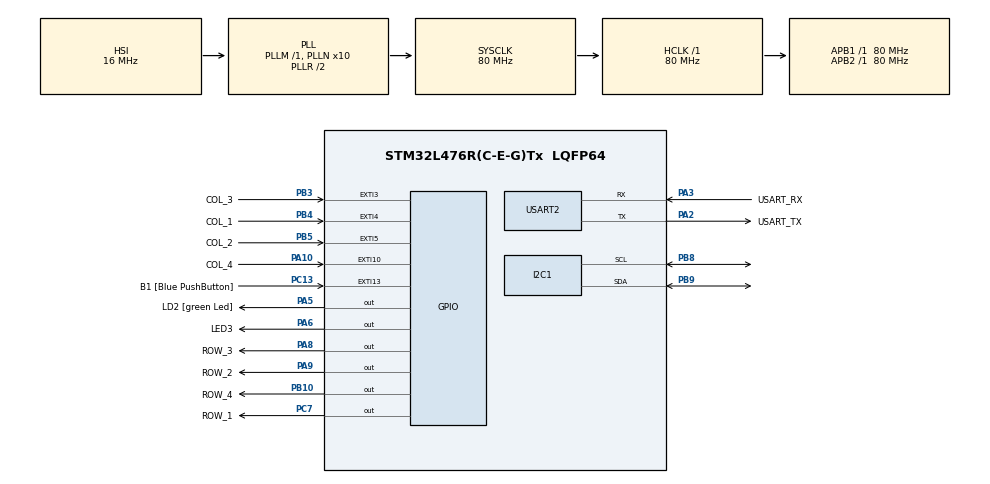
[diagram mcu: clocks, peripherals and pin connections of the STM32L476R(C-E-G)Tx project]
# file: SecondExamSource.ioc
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I2C1.Timing=0x10D19CE4
Mcu.Family=STM32L4
Mcu.Name=STM32L476R(C-E-G)Tx
Mcu.Package=LQFP64
NVIC.EXTI15_10_IRQn=true\:0\:0\:false\:false\:true\:true\:true\:true
NVIC.EXTI3_IRQn=true\:0\:0\:false\:false\:true\:true\:true\:true
NVIC.EXTI4_IRQn=true\:0\:0\:false\:false\:true\:true\:true\:true
NVIC.EXTI9_5_IRQn=true\:0\:0\:false\:false\:true\:true\:true\:true
NVIC.PriorityGroup=NVIC_PRIORITYGROUP_4
NVIC.USART2_IRQn=true\:0\:0\:false\:false\:true\:true\:true\:true
PA10.GPIO_Label=COL_4
PA10.GPIO_ModeDefaultEXTI=GPIO_MODE_IT_RISING
PA10.GPIO_PuPd=GPIO_PULLDOWN
PA10.Signal=GPXTI10
PA13\ (JTMS-SWDIO).GPIO_Label=TMS
PA13\ (JTMS-SWDIO).Signal=SYS_JTMS-SWDIO
PA14\ (JTCK-SWCLK).GPIO_Label=TCK
PA14\ (JTCK-SWCLK).Signal=SYS_JTCK-SWCLK
PA2.GPIO_Label=USART_TX
PA2.GPIO_Mode=GPIO_MODE_AF_PP
PA2.GPIO_PuPd=GPIO_NOPULL
PA2.GPIO_Speed=GPIO_SPEED_FREQ_VERY_HIGH
PA2.Mode=Asynchronous
PA2.Signal=USART2_TX
PA3.GPIO_Label=USART_RX
PA3.GPIO_Mode=GPIO_MODE_AF_PP
PA3.GPIO_PuPd=GPIO_NOPULL
PA3.GPIO_Speed=GPIO_SPEED_FREQ_VERY_HIGH
PA3.Mode=Asynchronous
PA3.Signal=USART2_RX
PA5.GPIO_Label=LD2 [green Led]
PA5.GPIO_ModeDefaultOutputPP=GPIO_MODE_OUTPUT_PP
PA5.GPIO_PuPd=GPIO_NOPULL
PA5.GPIO_Speed=GPIO_SPEED_FREQ_LOW
PA5.Signal=GPIO_Output
PA6.GPIO_Label=LED3
PA6.Signal=GPIO_Output
PA8.GPIO_Label=ROW_3
PA8.GPIO_ModeDefaultOutputPP=GPIO_MODE_OUTPUT_PP
PA8.PinState=GPIO_PIN_SET
PA8.Signal=GPIO_Output
PA9.GPIO_Label=ROW_2
PA9.GPIO_ModeDefaultOutputPP=GPIO_MODE_OUTPUT_PP
PA9.PinState=GPIO_PIN_SET
PA9.Signal=GPIO_Output
PB10.GPIO_Label=ROW_4
PB10.GPIO_ModeDefaultOutputPP=GPIO_MODE_OUTPUT_PP
PB10.PinState=GPIO_PIN_SET
PB10.Signal=GPIO_Output
PB3\ (JTDO-TRACESWO).GPIO_Label=COL_3
PB3\ (JTDO-TRACESWO).GPIO_ModeDefaultEXTI=GPIO_MODE_IT_RISING
PB3\ (JTDO-TRACESWO).GPIO_PuPd=GPIO_PULLDOWN
PB3\ (JTDO-TRACESWO).Signal=GPXTI3
PB4\ (NJTRST).GPIO_Label=COL_1
PB4\ (NJTRST).GPIO_ModeDefaultEXTI=GPIO_MODE_IT_RISING
PB4\ (NJTRST).GPIO_PuPd=GPIO_PULLDOWN
PB4\ (NJTRST).Signal=GPXTI4
PB5.GPIO_Label=COL_2
PB5.GPIO_ModeDefaultEXTI=GPIO_MODE_IT_RISING
PB5.GPIO_PuPd=GPIO_PULLDOWN
PB5.Signal=GPXTI5
PB8.Mode=I2C
PB8.Signal=I2C1_SCL
PB9.Mode=I2C
PB9.Signal=I2C1_SDA
PC13.GPIO_Label=B1 [Blue PushButton]
PC13.GPIO_ModeDefaultEXTI=GPIO_MODE_IT_FALLING
PC13.GPIO_PuPd=GPIO_NOPULL
PC13.Signal=GPXTI13
PC14-OSC32_IN\ (PC14).Signal=RCC_OSC32_IN
PC15-OSC32_OUT\ (PC15).Signal=RCC_OSC32_OUT
PC7.GPIO_Label=ROW_1
PC7.GPIO_ModeDefaultOutputPP=GPIO_MODE_OUTPUT_PP
PC7.PinState=GPIO_PIN_SET
PC7.Signal=GPIO_Output
PH0-OSC_IN\ (PH0).Signal=RCC_OSC_IN
PH1-OSC_OUT\ (PH1).Signal=RCC_OSC_OUT
ProjectManager.HeapSize=0x200
ProjectManager.StackSize=0x400
ProjectManager.TargetToolchain=STM32CubeIDE
RCC.ADCFreq_Value=64000000
RCC.AHBFreq_Value=80000000
RCC.APB1Freq_Value=80000000
RCC.APB1TimFreq_Value=80000000
RCC.APB2Freq_Value=80000000
RCC.APB2TimFreq_Value=80000000
RCC.CortexFreq_Value=80000000
RCC.HCLKFreq_Value=80000000
RCC.HSE_VALUE=8000000
RCC.HSI_VALUE=16000000
RCC.LSE_VALUE=32768
RCC.MSI_VALUE=4000000
RCC.PLLN=10
RCC.PLLSourceVirtual=RCC_PLLSOURCE_HSI
RCC.PREFETCH_ENABLE=1
RCC.SYSCLKFreq_VALUE=80000000
RCC.SYSCLKSource=RCC_SYSCLKSOURCE_PLLCLK
RCC.USBFreq_Value=64000000
RCC.VCOOutputFreq_Value=160000000
USART2.VirtualMode-Asynchronous=VM_ASYNC
board=NUCLEO-L476RG

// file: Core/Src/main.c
/* USER CODE BEGIN Header */
/**
 ******************************************************************************
 * @file           : main.c
 * @brief          : Main program body
 ******************************************************************************
 * @attention
 *
 * Copyright (c) 2024 STMicroelectronics.
 * All rights reserved.
 *
 * This software is licensed under terms that can be found in the LICENSE file
 * in the root directory of this software component.
 * If no LICENSE file comes with this software, it is provided AS-IS.
 *
 ******************************************************************************
 */
/* USER CODE END Header */
#include "main.h"

/* USER CODE BEGIN Includes */
#include <stdio.h>
#include <math.h>

#include "ssd1306.h"
#include "ssd1306_fonts.h"

#include "ring_buffer.h"
#include "keypad.h"
/* USER CODE END Includes */

I2C_HandleTypeDef hi2c1;

UART_HandleTypeDef huart2;

/* USER CODE BEGIN PV */

// receive max 3 characthers on hexa for each buffer

#define KEYPAD_RB_LEN 3
uint8_t keypad_data = 0xFF;
uint8_t keypad_buffer[KEYPAD_RB_LEN];
ring_buffer_t keypad_rb;

// second buffer

#define KEYPAD1_RB_LEN 3
uint8_t keypad_data1 = 0xFF;
uint8_t keypad_buffer1[KEYPAD1_RB_LEN];
ring_buffer_t keypad1_rb;

#define USART2_RB_LEN 1
uint8_t usart2_data = 0xFF;
uint8_t usart2_buffer[USART2_RB_LEN];
ring_buffer_t usart2_rb;

// variable declaration for UART communication
uint8_t HB[] = " system  arithmetic : active \n\r";
volatile uint8_t operation_flag = 0;

/* USER CODE END PV */

void SystemClock_Config(void);
static void MX_GPIO_Init(void);
static void MX_I2C1_Init(void);
static void MX_USART2_UART_Init(void);

/* USER CODE BEGIN 0 */

// weak function to transmit via UART
int _write(int file, char *ptr, int len)
{
  HAL_UART_Transmit(&huart2, (uint8_t *)ptr, len, 10);
  return len;
}

// implementing reception callback for USART entrys
void HAL_UART_RxCpltCallback(UART_HandleTypeDef *huart)
{
  /* Data received in USART2 */
  if (huart->Instance == USART2)
  {
    // selecting of arithmetic operation (2COND REQUIREMENT)
    if (usart2_data == '+' || usart2_data == '-' || usart2_data == '*' || usart2_data == '/')
    {
      ring_buffer_write(&usart2_rb, usart2_data);
      if (ring_buffer_is_full(&usart2_rb) != 0)
      {
        // Transmit "receiving data" message via USART2
        HAL_UART_Transmit(&huart2, (uint8_t *)"Operator received. Press '=' to calculate.\r\n", 46, HAL_MAX_DELAY);
      }
      HAL_UART_Transmit(&huart2, (uint8_t *)" data received from UART \r\n", 25, HAL_MAX_DELAY);
    }
    else if (usart2_data == '=') // validate when user press ==
    {
      operation_flag = 1;
    }
    HAL_UART_Receive_IT(&huart2, &usart2_data, 1);
  }
}

void HAL_GPIO_EXTI_Callback(uint16_t GPIO_Pin)
{

  uint8_t key_pressed = keypad_scan(GPIO_Pin);
  if (key_pressed != 0xFF)
  {
    if (key_pressed == '#')
    {
      ring_buffer_reset(&keypad_rb);
      ring_buffer_reset(&keypad1_rb);
      ring_buffer_reset(&usart2_rb);
      printf("buffers reseted \r\n");
      ssd1306_Fill(Black);

    }

    else if (key_pressed >= '0' && key_pressed <= '9' ) // validation of numbers on HEXA keyboard
    {

      if (ring_buffer_is_full(&keypad_rb) == 0)
      {
        // Transmit "receiving data" message via USART2

        ring_buffer_write(&keypad_rb, key_pressed);
        keypad_data = key_pressed;
      }
      else if (ring_buffer_is_full(&keypad1_rb) == 0)
      {
        ring_buffer_write(&keypad1_rb, key_pressed);
        keypad_data1 = key_pressed;
      }
      else
      {
        printf("both buffers full, do some operation or press '=' if youre already did it\r\n"); // if ring buffer is full, continue with the second buffer
      }
    }
  }
}

/* USER CODE END 0 */

int main(void)
{

  /* MCU Configuration--------------------------------------------------------*/

  /* Reset of all peripherals, Initializes the Flash interface and the Systick. */
  HAL_Init();

  /* Configure the system clock */
  SystemClock_Config();

  /* Initialize all configured peripherals */
  MX_GPIO_Init();
  MX_I2C1_Init();
  MX_USART2_UART_Init();
  /* USER CODE BEGIN 2 */
  ssd1306_Init();
  ssd1306_Fill(Black);
  HAL_UART_Transmit(&huart2, HB, sizeof(HB) - 1, 100);

  ssd1306_WriteString(" ARITHMETIC software...\r\n", Font_6x8, White);

  ssd1306_UpdateScreen();

  //initializing all respectives periphericals

  ring_buffer_init(&usart2_rb, usart2_buffer, USART2_RB_LEN);
  ring_buffer_init(&keypad_rb, keypad_buffer, KEYPAD_RB_LEN);
  ring_buffer_init(&keypad1_rb, keypad_buffer1, KEYPAD1_RB_LEN);

  HAL_UART_Receive_IT(&huart2, &usart2_data, 1);

  /* USER CODE END 2 */

  /* Infinite loop */
  /* USER CODE BEGIN WHILE */
  while (1)
  {

    // adding logic to implement heartbeat
    static uint32_t last_heartbeat_time = 0;
    if (HAL_GetTick() - last_heartbeat_time >= 500) // toggling for 1Hz (500ms on / 500ms off)
    {
      HAL_GPIO_TogglePin(GPIOA, LD2_Pin);
      last_heartbeat_time = HAL_GetTick();
      // HAL_UART_Transmit(&huart2, HB, sizeof(HB) - 1, 100);
    }
    // show entry data on OLED for UART and KEYPAD
    // Mostrar en OLED los datos del teclado
    if (keypad_data != 0xFF)
    {
      ssd1306_SetCursor(20, 20);
      char buffer[2] = {keypad_data, '\0'};
      ssd1306_WriteString(buffer, Font_11x18, White);
      ssd1306_UpdateScreen();
      keypad_data = 0xFF;
    }

    if (keypad_data1 != 0xFF)
    {
      ssd1306_SetCursor(40, 20);
      char buffer[2] = {keypad_data1, '\0'};
      ssd1306_WriteString(buffer, Font_11x18, White);
      ssd1306_UpdateScreen();
      keypad_data1 = 0xFF;
    }

    // show UART entry on OLED
    if (usart2_data != 0xFF)
    {
      ssd1306_SetCursor(20, 40);
      char buffer[2] = {usart2_data, '\0'};
      ssd1306_WriteString(buffer, Font_11x18, White);
      ssd1306_UpdateScreen();
      usart2_data = 0xFF;
    }

    // implementing arithmetic logic

    if (operation_flag == 1)
    {

      HAL_UART_Transmit(&huart2, (uint8_t *)"calculating...", 46, HAL_MAX_DELAY);
      uint32_t num1 = 0;
      uint32_t num2 = 0;
      uint8_t digit;

      while (ring_buffer_is_empty(&keypad_rb) == 0)
      {
        ring_buffer_read(&keypad_rb, &digit);
        num1 = num1 * 10 + (digit - '0');
      }

      while (ring_buffer_is_empty(&keypad1_rb) == 0)
      {
        ring_buffer_read(&keypad1_rb, &digit);
        num2 = num2 * 10 + (digit - '0');
      }

      // scanning uart operator
      uint8_t operator= 0;
      ring_buffer_read(&usart2_rb, &operator);

      // realize respective arithmetic operation
      int32_t result = 0;
      switch (operator)
      {
      case '+':
        result = num1 + num2;
        break;
      case '-':
        result = num1 - num2;
        break;
      case '*':
        result = num1 * num2;
        break;
      case '/':
        if (num2 != 0) // zero validation
          result = num1 / num2;
        else
        {
          printf("Error: division by zero not avaliable.\r\n");
          ssd1306_Fill(Black);
          ssd1306_SetCursor(20, 30);
          ssd1306_WriteString("Error: Div 0", Font_11x18, White);
          ssd1306_UpdateScreen();
          break;
        }
        break;
      default:
        printf("operator not validate \r\n");
        break;
      }
      // validating last functional requirement (CONTROL STATE LED)
      if (result >  0)
            {
              HAL_GPIO_WritePin(GPIOA, LED3_Pin, 1); //  > 0
            }
            else // less or equal
            {
              HAL_GPIO_WritePin(GPIOA, LED3_Pin, 0); // <=0
            }

      // deploy result on  OLED and UART
      ssd1306_Fill(Black);
      char result_str[32];
      sprintf(result_str, "%ld () %ld = %ld", num1, num2, result);
      ssd1306_SetCursor(20, 30);
      ssd1306_WriteString(result_str, Font_6x8, White);
      ssd1306_UpdateScreen();

      printf("Resultado: %ld\r\n", result); // display via UART
      printf("%ld () %ld = %s\r\n", num1 ,num2, result_str);

      // reset operatioo flag

      operation_flag = 0;
    }

    /* USER CODE END WHILE */

}
}

void SystemClock_Config(void)
{
  RCC_OscInitTypeDef RCC_OscInitStruct = {0};
  RCC_ClkInitTypeDef RCC_ClkInitStruct = {0};

  /** Configure the main internal regulator output voltage
  */
  if (HAL_PWREx_ControlVoltageScaling(PWR_REGULATOR_VOLTAGE_SCALE1) != HAL_OK)
  {
    Error_Handler();
  }

  /** Initializes the RCC Oscillators according to the specified parameters
  * in the RCC_OscInitTypeDef structure.
  */
  RCC_OscInitStruct.OscillatorType = RCC_OSCILLATORTYPE_HSI;
  RCC_OscInitStruct.HSIState = RCC_HSI_ON;
  RCC_OscInitStruct.HSICalibrationValue = RCC_HSICALIBRATION_DEFAULT;
  RCC_OscInitStruct.PLL.PLLState = RCC_PLL_ON;
  RCC_OscInitStruct.PLL.PLLSource = RCC_PLLSOURCE_HSI;
  RCC_OscInitStruct.PLL.PLLM = 1;
  RCC_OscInitStruct.PLL.PLLN = 10;
  RCC_OscInitStruct.PLL.PLLP = RCC_PLLP_DIV7;
  RCC_OscInitStruct.PLL.PLLQ = RCC_PLLQ_DIV2;
  RCC_OscInitStruct.PLL.PLLR = RCC_PLLR_DIV2;
  if (HAL_RCC_OscConfig(&RCC_OscInitStruct) != HAL_OK)
  {
    Error_Handler();
  }

  /** Initializes the CPU, AHB and APB buses clocks
  */
  RCC_ClkInitStruct.ClockType = RCC_CLOCKTYPE_HCLK|RCC_CLOCKTYPE_SYSCLK
                              |RCC_CLOCKTYPE_PCLK1|RCC_CLOCKTYPE_PCLK2;
  RCC_ClkInitStruct.SYSCLKSource = RCC_SYSCLKSOURCE_PLLCLK;
  RCC_ClkInitStruct.AHBCLKDivider = RCC_SYSCLK_DIV1;
  RCC_ClkInitStruct.APB1CLKDivider = RCC_HCLK_DIV1;
  RCC_ClkInitStruct.APB2CLKDivider = RCC_HCLK_DIV1;

  if (HAL_RCC_ClockConfig(&RCC_ClkInitStruct, FLASH_LATENCY_4) != HAL_OK)
  {
    Error_Handler();
  }
}

static void MX_I2C1_Init(void)
{

  hi2c1.Instance = I2C1;
  hi2c1.Init.Timing = 0x10D19CE4;
  hi2c1.Init.OwnAddress1 = 0;
  hi2c1.Init.AddressingMode = I2C_ADDRESSINGMODE_7BIT;
  hi2c1.Init.DualAddressMode = I2C_DUALADDRESS_DISABLE;
  hi2c1.Init.OwnAddress2 = 0;
  hi2c1.Init.OwnAddress2Masks = I2C_OA2_NOMASK;
  hi2c1.Init.GeneralCallMode = I2C_GENERALCALL_DISABLE;
  hi2c1.Init.NoStretchMode = I2C_NOSTRETCH_DISABLE;
  if (HAL_I2C_Init(&hi2c1) != HAL_OK)
  {
    Error_Handler();
  }

  /** Configure Analogue filter
  */
  if (HAL_I2CEx_ConfigAnalogFilter(&hi2c1, I2C_ANALOGFILTER_ENABLE) != HAL_OK)
  {
    Error_Handler();
  }

  /** Configure Digital filter
  */
  if (HAL_I2CEx_ConfigDigitalFilter(&hi2c1, 0) != HAL_OK)
  {
    Error_Handler();
  }

}

static void MX_USART2_UART_Init(void)
{

  huart2.Instance = USART2;
  huart2.Init.BaudRate = 115200;
  huart2.Init.WordLength = UART_WORDLENGTH_8B;
  huart2.Init.StopBits = UART_STOPBITS_1;
  huart2.Init.Parity = UART_PARITY_NONE;
  huart2.Init.Mode = UART_MODE_TX_RX;
  huart2.Init.HwFlowCtl = UART_HWCONTROL_NONE;
  huart2.Init.OverSampling = UART_OVERSAMPLING_16;
  huart2.Init.OneBitSampling = UART_ONE_BIT_SAMPLE_DISABLE;
  huart2.AdvancedInit.AdvFeatureInit = UART_ADVFEATURE_NO_INIT;
  if (HAL_UART_Init(&huart2) != HAL_OK)
  {
    Error_Handler();
  }

}

static void MX_GPIO_Init(void)
{
  GPIO_InitTypeDef GPIO_InitStruct = {0};

  /* GPIO Ports Clock Enable */
  __HAL_RCC_GPIOC_CLK_ENABLE();
  __HAL_RCC_GPIOH_CLK_ENABLE();
  __HAL_RCC_GPIOA_CLK_ENABLE();
  __HAL_RCC_GPIOB_CLK_ENABLE();

  /*Configure GPIO pin Output Level */
  HAL_GPIO_WritePin(GPIOA, LD2_Pin|LED3_Pin, GPIO_PIN_RESET);

  /*Configure GPIO pin Output Level */
  HAL_GPIO_WritePin(ROW_4_GPIO_Port, ROW_4_Pin, GPIO_PIN_SET);

  /*Configure GPIO pin Output Level */
  HAL_GPIO_WritePin(ROW_1_GPIO_Port, ROW_1_Pin, GPIO_PIN_SET);

  /*Configure GPIO pin Output Level */
  HAL_GPIO_WritePin(GPIOA, ROW_3_Pin|ROW_2_Pin, GPIO_PIN_SET);

  /*Configure GPIO pin : B1_Pin */
  GPIO_InitStruct.Pin = B1_Pin;
  GPIO_InitStruct.Mode = GPIO_MODE_IT_FALLING;
  GPIO_InitStruct.Pull = GPIO_NOPULL;
  HAL_GPIO_Init(B1_GPIO_Port, &GPIO_InitStruct);

  /*Configure GPIO pins : LD2_Pin LED3_Pin ROW_3_Pin ROW_2_Pin */
  GPIO_InitStruct.Pin = LD2_Pin|LED3_Pin|ROW_3_Pin|ROW_2_Pin;
  GPIO_InitStruct.Mode = GPIO_MODE_OUTPUT_PP;
  GPIO_InitStruct.Pull = GPIO_NOPULL;
  GPIO_InitStruct.Speed = GPIO_SPEED_FREQ_LOW;
  HAL_GPIO_Init(GPIOA, &GPIO_InitStruct);

  /*Configure GPIO pin : ROW_4_Pin */
  GPIO_InitStruct.Pin = ROW_4_Pin;
  GPIO_InitStruct.Mode = GPIO_MODE_OUTPUT_PP;
  GPIO_InitStruct.Pull = GPIO_NOPULL;
  GPIO_InitStruct.Speed = GPIO_SPEED_FREQ_LOW;
  HAL_GPIO_Init(ROW_4_GPIO_Port, &GPIO_InitStruct);

  /*Configure GPIO pin : ROW_1_Pin */
  GPIO_InitStruct.Pin = ROW_1_Pin;
  GPIO_InitStruct.Mode = GPIO_MODE_OUTPUT_PP;
  GPIO_InitStruct.Pull = GPIO_NOPULL;
  GPIO_InitStruct.Speed = GPIO_SPEED_FREQ_LOW;
  HAL_GPIO_Init(ROW_1_GPIO_Port, &GPIO_InitStruct);

  /*Configure GPIO pin : COL_4_Pin */
  GPIO_InitStruct.Pin = COL_4_Pin;
  GPIO_InitStruct.Mode = GPIO_MODE_IT_RISING;
  GPIO_InitStruct.Pull = GPIO_PULLDOWN;
  HAL_GPIO_Init(COL_4_GPIO_Port, &GPIO_InitStruct);

  /*Configure GPIO pins : COL_3_Pin COL_1_Pin COL_2_Pin */
  GPIO_InitStruct.Pin = COL_3_Pin|COL_1_Pin|COL_2_Pin;
  GPIO_InitStruct.Mode = GPIO_MODE_IT_RISING;
  GPIO_InitStruct.Pull = GPIO_PULLDOWN;
  HAL_GPIO_Init(GPIOB, &GPIO_InitStruct);

  /* EXTI interrupt init*/
  HAL_NVIC_SetPriority(EXTI3_IRQn, 0, 0);
  HAL_NVIC_EnableIRQ(EXTI3_IRQn);

  HAL_NVIC_SetPriority(EXTI4_IRQn, 0, 0);
  HAL_NVIC_EnableIRQ(EXTI4_IRQn);

  HAL_NVIC_SetPriority(EXTI9_5_IRQn, 0, 0);
  HAL_NVIC_EnableIRQ(EXTI9_5_IRQn);

  HAL_NVIC_SetPriority(EXTI15_10_IRQn, 0, 0);
  HAL_NVIC_EnableIRQ(EXTI15_10_IRQn);

}

void Error_Handler(void)
{
  __disable_irq();
  while (1)
  {
  }
}
